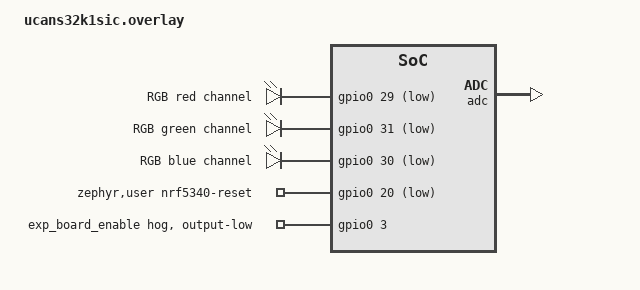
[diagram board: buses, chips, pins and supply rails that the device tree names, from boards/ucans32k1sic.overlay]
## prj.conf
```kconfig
# Enable logging and debug print
CONFIG_PRINTK=y
CONFIG_LOG=y

# Enable PWM driver
CONFIG_GPIO=y

# Enable device power management support (safe check)
CONFIG_PM_DEVICE=y
CONFIG_PM_DEVICE_RUNTIME=y
```

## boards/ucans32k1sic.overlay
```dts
/ {
	leds {
		compatible = "gpio-leds";

		red_led: led_1 {
			gpios = <&gpio0 29 GPIO_ACTIVE_LOW>;
			label = "RGB red channel";
		};

		green_led: led_2 {
			gpios = <&gpio0 31 GPIO_ACTIVE_LOW>;
			label = "RGB green channel";
		};

		blue_led: led_3 {
			gpios = <&gpio0 30 GPIO_ACTIVE_LOW>;
			label = "RGB blue channel";
		};
	};

	zephyr,user {
		nrf5340-reset-gpios = <&gpio0 20 GPIO_ACTIVE_LOW>;
	};

	aliases {
		sw0 = &button0;
		led0 = &red_led;
		led1 = &green_led;
		led2 = &blue_led;

		// Remove PWM-related aliases if not needed anymore
		// pwm-led0 = &pwm_led0;
		// pwm-led1 = &pwm_led1;
		// pwm-led2 = &pwm_led2;
		// rgb-pwm = &pwm0;

		mcuboot-button0 = &button0;
		spi-flash0 = &flash_ext;
	};
};

&adc {
	status = "okay";
};

&gpiote {
	status = "okay";
};

&gpio0 {
	status = "okay";
	sense-edge-mask = <0xffffffff>;

	exp_board_enable: exp_board_enable {
		gpio-hog;
		output-low;
		gpios = <3 GPIO_ACTIVE_HIGH>;
	};
};

// Comment out PWM block if not used anymore
// &pwm0 {
// 	status = "okay";
// 	pinctrl-0 = <&pwm0_default>;
// 	pinctrl-1 = <&pwm0_sleep>;
// 	pinctrl-names = "default", "sleep";
// };
```

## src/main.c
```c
#include <zephyr/kernel.h>
#include <zephyr/sys/printk.h>
#include <zephyr/device.h>
#include <zephyr/drivers/gpio.h>

// GPIO spec for RGB LEDs
static const struct gpio_dt_spec red_led = GPIO_DT_SPEC_GET(DT_ALIAS(led0), gpios);
static const struct gpio_dt_spec blue_led = GPIO_DT_SPEC_GET(DT_ALIAS(led1), gpios);
static const struct gpio_dt_spec green_led = GPIO_DT_SPEC_GET(DT_ALIAS(led2), gpios);


// Button spec
static const struct gpio_dt_spec button = GPIO_DT_SPEC_GET(DT_ALIAS(sw0), gpios);

enum color_state {
	RED,
	GREEN,
	BLUE
};

void set_color(enum color_state color) {
	// Turn all LEDs OFF (active-low logic)
	gpio_pin_set_dt(&red_led, 1);
	gpio_pin_set_dt(&green_led, 1);
	gpio_pin_set_dt(&blue_led, 1);

	switch (color) {
	case RED:
		gpio_pin_set_dt(&red_led, 0);
		printf("Button pressed. New color: RED\n");
		break;
	case GREEN:
		gpio_pin_set_dt(&green_led, 0);
		printf("Button pressed. New color: GREEN\n");
		break;
	case BLUE:
		gpio_pin_set_dt(&blue_led, 0);
		printf("Button pressed. New color: BLUE\n");
		break;
	}
}

int main(void)
{
	if (!device_is_ready(red_led.port) ||
	    !device_is_ready(green_led.port) ||
	    !device_is_ready(blue_led.port) ||
	    !device_is_ready(button.port)) {
		printk("Error: Device not ready\n");
		return 0;
	}

	gpio_pin_configure_dt(&red_led, GPIO_OUTPUT_INACTIVE);
	gpio_pin_configure_dt(&green_led, GPIO_OUTPUT_INACTIVE);
	gpio_pin_configure_dt(&blue_led, GPIO_OUTPUT_INACTIVE);
	gpio_pin_configure_dt(&button, GPIO_INPUT);

	enum color_state current_color = RED;
	set_color(current_color);

	while (1) {
		int val = gpio_pin_get_dt(&button);
		if (val == 0) {  // Button pressed (active low)
			k_msleep(50);  // debounce
            int val = gpio_pin_get_dt(&button);
		if (val == 0) {  // Button pressed (active low)
			// Manually cycle to next color
			if (current_color == RED) {
				current_color = GREEN;
			} else if (current_color == GREEN) {
				current_color = BLUE;
			} else {  // BLUE
				current_color = RED;
			}

			set_color(current_color);

			// Wait for button release
			while (gpio_pin_get_dt(&button) == 0) {
				k_msleep(50);
			}
		}
	}

		k_msleep(50);
	}
}
```
